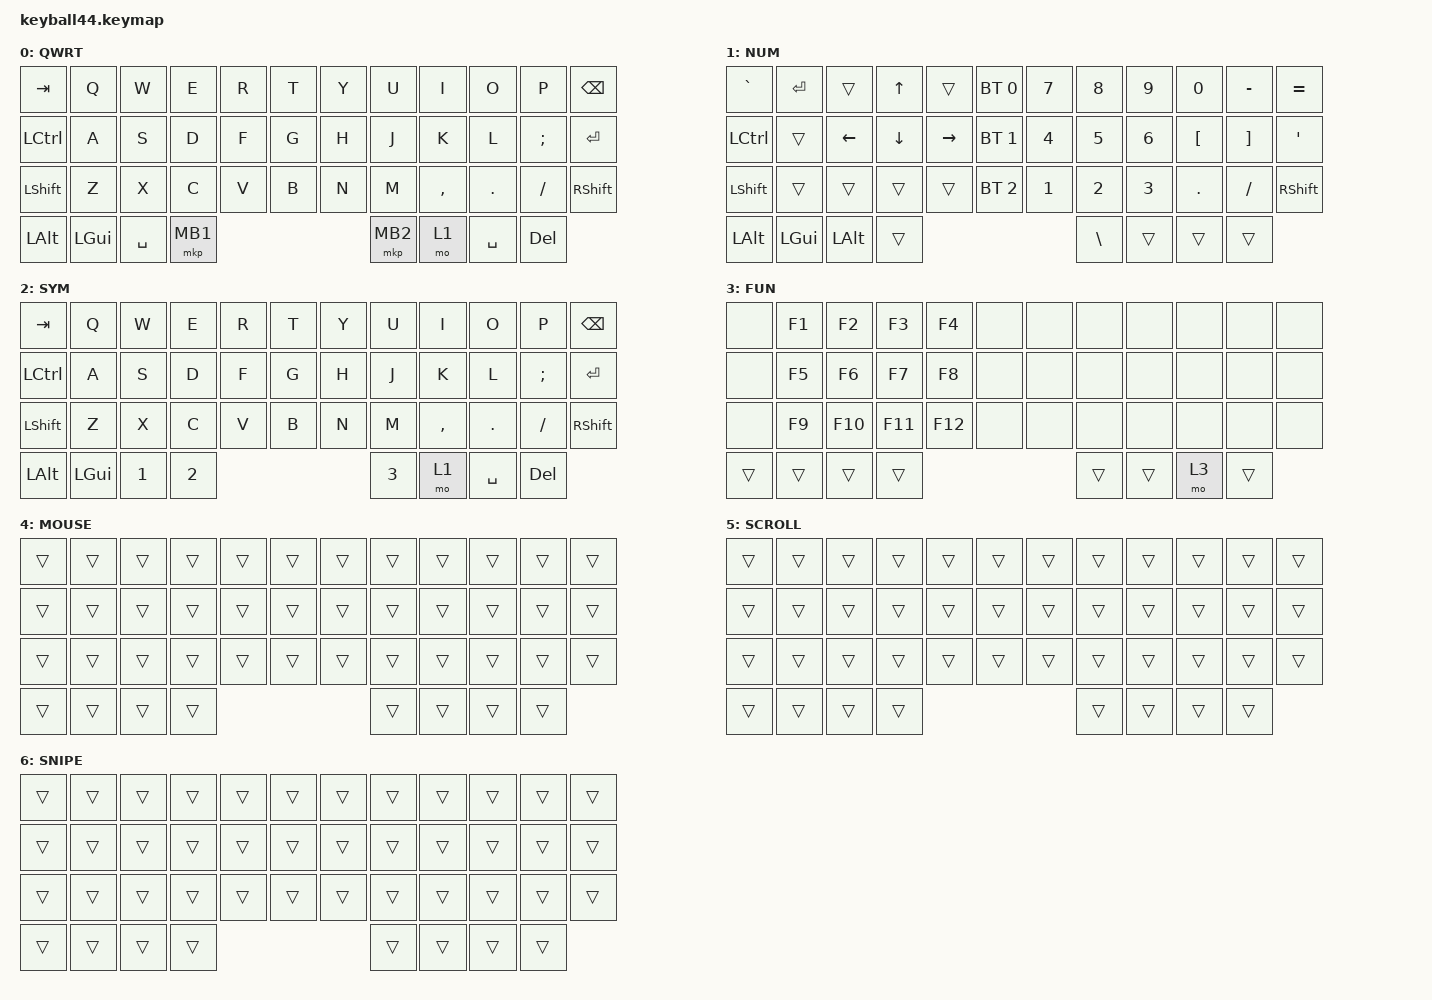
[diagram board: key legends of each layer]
 #define DEFAULT 0
#define NUM     1
#define SYM     2
#define FUN     3
#define MOUSE   4
#define SCROLL  5
#define SNIPE   6

#include <behaviors/mouse_keys.dtsi>
#include <behaviors.dtsi>
#include <dt-bindings/zmk/bt.h>
#include <dt-bindings/zmk/keys.h>
#include <dt-bindings/zmk/mouse.h>

&lt {
    tapping-term-ms = <240>;
    flavor = "balanced";
    quick-tap-ms = <150>;
};

&mt {
    tapping-term-ms = <200>;
    flavor = "tap-preferred";
    quick-tap-ms = <150>;
};

&caps_word { continue-list = <UNDERSCORE MINUS>; };

/ {
    // custom shift using mod-morph 

    behaviors {
        cmqus: comma_question {
            compatible = "zmk,behavior-mod-morph";
            label = "COMMA_QUESTION";
            #binding-cells = <0>;
            bindings = <&kp COMMA>, <&kp QUESTION>;

            mods = <(MOD_LSFT|MOD_RSFT)>;
        };

        dtsmi: dot_semi {
            compatible = "zmk,behavior-mod-morph";
            label = "DOT_SEMI";
            #binding-cells = <0>;
            bindings = <&kp DOT>, <&kp SEMI>;

            mods = <(MOD_LSFT|MOD_RSFT)>;
        };
    };

    combos {
        compatible = "zmk,combos";

        combo_escape {
            bindings = <&kp ESCAPE>;
            key-positions = <0 1>;
        };

        combo_MB1 {
            bindings = <&mkp MB1>;
            key-positions = <19 20>;
        };

        combo_MB2 {
            bindings = <&mkp MB2>;
            key-positions = <20 21>;
        };

        combo_scroll {
            bindings = <&mo 5>;
            key-positions = <19 21>;
        };

        combo_symlayer {
            bindings = <&tog 2>;
            key-positions = <30 31>;
        };

        combo_delete {
            bindings = <&kp DELETE>;
            key-positions = <10 11>;
        };

        combo_backslash {
            bindings = <&kp BACKSLASH>;
            key-positions = <22 23>;
        };
        
    };

    keymap {
        compatible = "zmk,keymap";

        default_layer {
            label = "QWRT";
            bindings = <
&kp TAB         &kp Q     &kp W         &kp E        &kp R      &kp T                 &kp Y            &kp U  &kp I      &kp O    &kp P      &kp BACKSPACE
&kp LCTRL       &kp A     &kp S         &kp D        &kp F      &kp G                 &kp H            &kp J  &kp K      &kp L    &kp SEMI   &kp ENTER
&kp LEFT_SHIFT  &kp Z     &kp X         &kp C        &kp V      &kp B                 &kp N            &kp M  &kp COMMA  &kp DOT  &kp SLASH  &kp RIGHT_SHIFT
&kp LALT        &kp LGUI                 &kp SPACE    &mkp MB1   &mkp MB2              &mo 1            &kp SPACE                  &kp DELETE
            >;
        };

        number_layer {
            label = "NUM";
            bindings = <
&kp GRAVE        &kp ENTER      &trans         &kp UP_ARROW  &trans         &bt BT_SEL 0              &kp NUMBER_7  &kp NUMBER_8  &kp NUMBER_9  &kp NUMBER_0      &kp MINUS          &kp EQUAL
&kp LCTRL        &trans         &kp LEFT       &kp DOWN      &kp RIGHT      &bt BT_SEL 1              &kp NUMBER_4  &kp NUMBER_5  &kp NUMBER_6  &kp LEFT_BRACKET  &kp RIGHT_BRACKET  &kp SINGLE_QUOTE
&kp LEFT_SHIFT   &trans         &trans         &trans        &trans         &bt BT_SEL 2              &kp NUMBER_1  &kp NUMBER_2  &kp NUMBER_3  &kp DOT           &kp SLASH          &kp RIGHT_SHIFT
&kp LALT         &kp LGUI                      &kp LALT      &trans         &kp BACKSLASH             &trans        &trans                      &trans
            >;
        };

        symbol_layer {
            label = "SYM";
            bindings = <
&kp TAB         &kp Q     &kp W         &kp E        &kp R      &kp T                 &kp Y            &kp U  &kp I      &kp O    &kp P      &kp BACKSPACE
&kp LCTRL       &kp A     &kp S         &kp D        &kp F      &kp G                 &kp H            &kp J  &kp K      &kp L    &kp SEMI   &kp ENTER
&kp LEFT_SHIFT  &kp Z     &kp X         &kp C        &kp V      &kp B                 &kp N            &kp M  &kp COMMA  &kp DOT  &kp SLASH  &kp RIGHT_SHIFT
&kp LALT        &kp LGUI               &kp NUMBER_1  &kp NUMBER_2  &kp NUMBER_3             &mo 1            &kp SPACE                  &kp DELETE
            >;
        };

        function_layer {
            label = "FUN";
            bindings = <
&none   &kp F1  &kp F2   &kp F3   &kp F4   &none              &none  &none  &none  &none  &none  &none
&none   &kp F5  &kp F6   &kp F7   &kp F8   &none              &none  &none  &none  &none  &none  &none
&none   &kp F9  &kp F10  &kp F11  &kp F12  &none              &none  &none  &none  &none  &none  &none
&trans  &trans  &trans   &trans   &trans              &trans  &mo 3                              &trans
            >;
        };

        mouse_layer {
            label = "MOUSE";
            bindings = <
&trans   &trans          &trans          &trans        &trans     &trans              &trans         &trans     &trans      &trans     &trans     &trans
&trans   &trans          &trans          &trans        &trans     &trans              &trans         &trans     &trans      &trans     &trans     &trans
&trans   &trans          &trans          &trans        &trans     &trans              &trans         &trans     &trans      &trans     &trans     &trans
&trans   &trans          &trans          &trans        &trans                         &trans         &trans                            &trans
            >;
        };

        scroll_layer {
            label = "SCROLL";
            bindings = <
&trans  &trans  &trans  &trans  &trans  &trans              &trans  &trans  &trans  &trans  &trans  &trans
&trans  &trans  &trans  &trans  &trans  &trans              &trans  &trans  &trans  &trans  &trans  &trans
&trans  &trans  &trans  &trans  &trans  &trans              &trans  &trans  &trans  &trans  &trans  &trans
&trans  &trans  &trans  &trans  &trans              &trans  &trans                                  &trans
            >;
        };

        snipe_layer {
            label = "SNIPE";
            bindings = <
&trans  &trans  &trans  &trans  &trans  &trans              &trans  &trans  &trans  &trans  &trans  &trans
&trans  &trans  &trans  &trans  &trans  &trans              &trans  &trans  &trans  &trans  &trans  &trans
&trans  &trans  &trans  &trans  &trans  &trans              &trans  &trans  &trans  &trans  &trans  &trans
&trans  &trans  &trans  &trans  &trans              &trans  &trans                                  &trans
            >;
        };
    };
};
